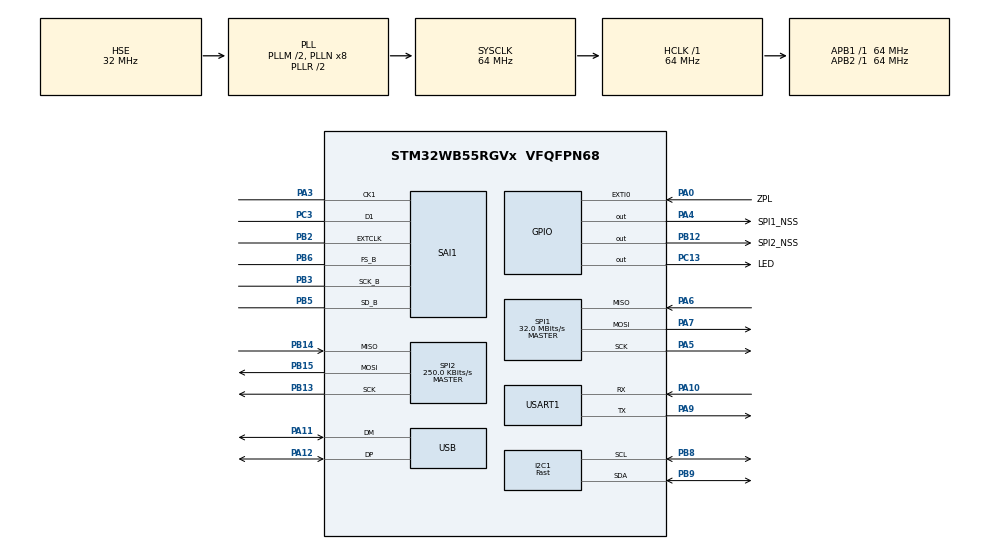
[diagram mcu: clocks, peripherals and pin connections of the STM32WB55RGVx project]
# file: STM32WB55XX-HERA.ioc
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Dma.Request0=SAI1_A
Dma.Request1=SPI2_RX
Dma.Request2=SPI2_TX
Dma.Request3=SAI1_B
Dma.SAI1_A.0.Direction=DMA_PERIPH_TO_MEMORY
Dma.SAI1_A.0.EventEnable=DISABLE
Dma.SAI1_A.0.Instance=DMA1_Channel1
Dma.SAI1_A.0.MemDataAlignment=DMA_MDATAALIGN_BYTE
Dma.SAI1_A.0.MemInc=DMA_MINC_ENABLE
Dma.SAI1_A.0.Mode=DMA_CIRCULAR
Dma.SAI1_A.0.PeriphDataAlignment=DMA_PDATAALIGN_BYTE
Dma.SAI1_A.0.PeriphInc=DMA_PINC_DISABLE
Dma.SAI1_A.0.Polarity=HAL_DMAMUX_REQ_GEN_RISING
Dma.SAI1_A.0.Priority=DMA_PRIORITY_LOW
Dma.SAI1_A.0.RequestNumber=1
Dma.SAI1_A.0.SignalID=NONE
Dma.SAI1_A.0.SyncEnable=DISABLE
Dma.SAI1_A.0.SyncPolarity=HAL_DMAMUX_SYNC_NO_EVENT
Dma.SAI1_A.0.SyncRequestNumber=1
Dma.SAI1_A.0.SyncSignalID=NONE
Dma.SAI1_B.3.Direction=DMA_MEMORY_TO_PERIPH
Dma.SAI1_B.3.EventEnable=DISABLE
Dma.SAI1_B.3.Instance=DMA1_Channel4
Dma.SAI1_B.3.MemDataAlignment=DMA_MDATAALIGN_HALFWORD
Dma.SAI1_B.3.MemInc=DMA_MINC_ENABLE
Dma.SAI1_B.3.Mode=DMA_NORMAL
Dma.SAI1_B.3.PeriphDataAlignment=DMA_PDATAALIGN_HALFWORD
Dma.SAI1_B.3.PeriphInc=DMA_PINC_DISABLE
Dma.SAI1_B.3.Polarity=HAL_DMAMUX_REQ_GEN_RISING
Dma.SAI1_B.3.Priority=DMA_PRIORITY_LOW
Dma.SAI1_B.3.RequestNumber=1
Dma.SAI1_B.3.SignalID=NONE
Dma.SAI1_B.3.SyncEnable=DISABLE
Dma.SAI1_B.3.SyncPolarity=HAL_DMAMUX_SYNC_NO_EVENT
Dma.SAI1_B.3.SyncRequestNumber=1
Dma.SAI1_B.3.SyncSignalID=NONE
Dma.SPI2_RX.1.Direction=DMA_PERIPH_TO_MEMORY
Dma.SPI2_RX.1.EventEnable=DISABLE
Dma.SPI2_RX.1.Instance=DMA1_Channel2
Dma.SPI2_RX.1.MemDataAlignment=DMA_MDATAALIGN_BYTE
Dma.SPI2_RX.1.MemInc=DMA_MINC_ENABLE
Dma.SPI2_RX.1.Mode=DMA_NORMAL
Dma.SPI2_RX.1.PeriphDataAlignment=DMA_PDATAALIGN_BYTE
Dma.SPI2_RX.1.PeriphInc=DMA_PINC_DISABLE
Dma.SPI2_RX.1.Polarity=HAL_DMAMUX_REQ_GEN_RISING
Dma.SPI2_RX.1.Priority=DMA_PRIORITY_LOW
Dma.SPI2_RX.1.RequestNumber=1
Dma.SPI2_RX.1.SignalID=NONE
Dma.SPI2_RX.1.SyncEnable=DISABLE
Dma.SPI2_RX.1.SyncPolarity=HAL_DMAMUX_SYNC_NO_EVENT
Dma.SPI2_RX.1.SyncRequestNumber=1
Dma.SPI2_RX.1.SyncSignalID=NONE
Dma.SPI2_TX.2.Direction=DMA_MEMORY_TO_PERIPH
Dma.SPI2_TX.2.EventEnable=DISABLE
Dma.SPI2_TX.2.Instance=DMA1_Channel3
Dma.SPI2_TX.2.MemDataAlignment=DMA_MDATAALIGN_BYTE
Dma.SPI2_TX.2.MemInc=DMA_MINC_ENABLE
Dma.SPI2_TX.2.Mode=DMA_NORMAL
Dma.SPI2_TX.2.PeriphDataAlignment=DMA_PDATAALIGN_BYTE
Dma.SPI2_TX.2.PeriphInc=DMA_PINC_DISABLE
Dma.SPI2_TX.2.Polarity=HAL_DMAMUX_REQ_GEN_RISING
Dma.SPI2_TX.2.Priority=DMA_PRIORITY_LOW
Dma.SPI2_TX.2.RequestNumber=1
Dma.SPI2_TX.2.SignalID=NONE
Dma.SPI2_TX.2.SyncEnable=DISABLE
Dma.SPI2_TX.2.SyncPolarity=HAL_DMAMUX_SYNC_NO_EVENT
Dma.SPI2_TX.2.SyncRequestNumber=1
Dma.SPI2_TX.2.SyncSignalID=NONE
I2C1.I2C_Speed_Mode=I2C_Fast
I2C1.Timing=0x00C12166
Mcu.Family=STM32WB
Mcu.Name=STM32WB55RGVx
Mcu.Package=VFQFPN68
NVIC.DMA1_Channel1_IRQn=true\:0\:0\:false\:false\:true\:false\:true\:true
NVIC.DMA1_Channel2_IRQn=true\:0\:0\:false\:false\:true\:false\:true\:true
NVIC.DMA1_Channel3_IRQn=true\:0\:0\:false\:false\:true\:false\:true\:true
NVIC.DMA1_Channel4_IRQn=true\:0\:0\:false\:false\:true\:false\:true\:true
NVIC.EXTI0_IRQn=true\:0\:0\:false\:false\:true\:true\:true\:true
NVIC.HSEM_IRQn=true\:0\:0\:false\:false\:true\:false\:true\:true
NVIC.IPCC_C1_RX_IRQn=true\:0\:0\:false\:false\:true\:true\:true\:true
NVIC.IPCC_C1_TX_IRQn=true\:0\:0\:false\:false\:true\:true\:true\:true
NVIC.PriorityGroup=NVIC_PRIORITYGROUP_4
NVIC.SAI1_IRQn=true\:0\:0\:false\:false\:true\:true\:true\:true
NVIC.USB_LP_IRQn=true\:0\:0\:false\:false\:true\:false\:true\:true
OSC_IN.Mode=HSE-External-Oscillator
OSC_IN.Signal=RCC_OSC_IN
OSC_OUT.Mode=HSE-External-Oscillator
OSC_OUT.Signal=RCC_OSC_OUT
PA0.GPIO_Label=ZPL
PA0.GPIO_PuPd=GPIO_PULLDOWN
PA0.Signal=GPXTI0
PA10.Mode=Asynchronous
PA10.Signal=USART1_RX
PA11.GPIO_Speed=GPIO_SPEED_FREQ_HIGH
PA11.Mode=Device
PA11.Signal=USB_DM
PA12.GPIO_Speed=GPIO_SPEED_FREQ_HIGH
PA12.Mode=Device
PA12.Signal=USB_DP
PA13.Mode=Serial_Wire
PA13.Signal=SYS_JTMS-SWDIO
PA14.Mode=Serial_Wire
PA14.Signal=SYS_JTCK-SWCLK
PA3.GPIO_Speed=GPIO_SPEED_FREQ_MEDIUM
PA3.Mode=PDM_Master_Mode_CK1
PA3.Signal=SAI1_CK1
PA4.GPIO_Label=SPI1_NSS
PA4.GPIO_ModeDefaultOutputPP=GPIO_MODE_OUTPUT_OD
PA4.GPIO_PuPd=GPIO_NOPULL
PA4.PinState=GPIO_PIN_SET
PA4.Signal=GPIO_Output
PA5.GPIO_Speed=GPIO_SPEED_FREQ_VERY_HIGH
PA5.Mode=Full_Duplex_Master
PA5.Signal=SPI1_SCK
PA6.GPIO_Speed=GPIO_SPEED_FREQ_HIGH
PA6.Mode=Full_Duplex_Master
PA6.Signal=SPI1_MISO
PA7.GPIO_Speed=GPIO_SPEED_FREQ_VERY_HIGH
PA7.Mode=Full_Duplex_Master
PA7.Signal=SPI1_MOSI
PA9.Mode=Asynchronous
PA9.Signal=USART1_TX
PB12.GPIO_Label=SPI2_NSS
PB12.PinState=GPIO_PIN_SET
PB12.Signal=GPIO_Output
PB13.GPIO_Speed=GPIO_SPEED_FREQ_VERY_HIGH
PB13.Mode=Full_Duplex_Master
PB13.Signal=SPI2_SCK
PB14.GPIO_Speed=GPIO_SPEED_FREQ_HIGH
PB14.Mode=Full_Duplex_Master
PB14.Signal=SPI2_MISO
PB15.GPIO_Speed=GPIO_SPEED_FREQ_VERY_HIGH
PB15.Mode=Full_Duplex_Master
PB15.Signal=SPI2_MOSI
PB2.Mode=Audio_ClockInSAI1
PB2.Signal=SAI1_EXTCLK
PB3.GPIO_Speed=GPIO_SPEED_FREQ_MEDIUM
PB3.Mode=SAI_B_Master
PB3.Signal=SAI1_SCK_B
PB5.GPIO_Speed=GPIO_SPEED_FREQ_MEDIUM
PB5.Mode=SAI_B_Master
PB5.Signal=SAI1_SD_B
PB6.Mode=SAI_B_Master
PB6.Signal=SAI1_FS_B
PB8.Mode=I2C
PB8.Signal=I2C1_SCL
PB9.Mode=I2C
PB9.Signal=I2C1_SDA
PC13.GPIO_Label=LED
PC13.PinState=GPIO_PIN_SET
PC13.Signal=GPIO_Output
PC14-OSC32_IN.Mode=LSE-External-Oscillator
PC14-OSC32_IN.Signal=RCC_OSC32_IN
PC15-OSC32_OUT.Mode=LSE-External-Oscillator
PC15-OSC32_OUT.Signal=RCC_OSC32_OUT
PC3.Mode=PDM_Master_Mode_CK1
PC3.Signal=SAI1_D1
ProjectManager.HeapSize=0x800
ProjectManager.StackSize=0x1000
ProjectManager.TargetToolchain=CMake
RCC.ADCFreq_Value=64000000
RCC.AHB2CLKDivider=RCC_SYSCLK_DIV2
RCC.AHBFreq_Value=64000000
RCC.APB1Freq_Value=64000000
RCC.APB1TimFreq_Value=64000000
RCC.APB2Freq_Value=64000000
RCC.APB2TimFreq_Value=64000000
RCC.APB3Freq_Value=16000000
RCC.CK48CLockSelection=RCC_USBCLKSOURCE_MSI
RCC.CortexFreq_Value=64000000
RCC.EXTERNALSAI1_CLOCK_VALUE=24576000
RCC.HCLKFreq_Value=64000000
RCC.HSE_VALUE=32000000
RCC.HSI48_VALUE=48000000
RCC.HSI_VALUE=16000000
RCC.MSIClockRange=RCC_MSIRANGE_11
RCC.PLLM=RCC_PLLM_DIV2
RCC.PLLP=RCC_PLLP_DIV8
RCC.PLLQ=RCC_PLLQ_DIV3
RCC.PLLSourceVirtual=RCC_PLLSOURCE_HSE
RCC.RTCClockSelection=RCC_RTCCLKSOURCE_LSE
RCC.SAI1CLockSelection=RCC_SAI1CLKSOURCE_PIN
RCC.SMPSCLockSelection=RCC_SMPSCLKSOURCE_HSE
RCC.SMPSDivider=4
RCC.SYSCLKFreq_VALUE=64000000
RCC.SYSCLKSource=RCC_SYSCLKSOURCE_PLLCLK
RCC.USBFreq_Value=48000000
RCC.VCOOutputFreq_Value=128000000
RF1.Mode=RF1_Activate
RF1.Signal=RF_RF1
SAI1.Activation=ENABLE
SAI1.AudioFrequency-PDM_Master_Mode_CK1=SAI_AUDIO_FREQUENCY_MCKDIV
SAI1.AudioFrequency-SAI_B_Master=SAI_AUDIO_FREQUENCY_48K
SAI1.ClockSource-SAI_B_Master=SAI_CLKSOURCE_EXT
SAI1.ErrorAudioFreq-PDM_Master_Mode_CK1=30.2 %
SAI1.ErrorAudioFreq-SAI_B_Master=0.0 %
SAI1.FIFOThreshold-PDM_Master_Mode_CK1=SAI_FIFOTHRESHOLD_1QF
SAI1.FSPolarity-PDM_Master_Mode_CK1=SAI_FS_ACTIVE_HIGH
SAI1.FirstBit-PDM_Master_Mode_CK1=SAI_FIRSTBIT_LSB
SAI1.FrameLength-PDM_Master_Mode_CK1=16
SAI1.InitProtocol-SAI_B_Master=Enable
SAI1.Instance-PDM_Master_Mode_CK1=SAI$Index_Block_A
SAI1.Instance-SAI_B_Master=SAI$Index_Block_B
SAI1.MClockEnable-PDM_Master_Mode_CK1=SAI_MASTERCLOCK_DISABLE
SAI1.MClockEnable-SAI_B_Master=SAI_MASTERCLOCK_DISABLE
SAI1.Mckdiv-PDM_Master_Mode_CK1=16
SAI1.OutputDrive-PDM_Master_Mode_CK1=SAI_OUTPUTDRIVE_DISABLE
SAI1.RealAudioFreq-PDM_Master_Mode_CK1=3.0 KHz
SAI1.RealAudioFreq-SAI_B_Master=48.0 KHz
SAI1.SlotActive-PDM_Master_Mode_CK1=0x0000FFFF
SAI1.SlotNumber-PDM_Master_Mode_CK1=2
SAI1.VirtualMode-PDM_Master_Mode_CK1=VM_MASTER
SAI1.VirtualMode-SAI_B_Master=VM_MASTER
SAI1.VirtualProtocol-PDM_Master_Mode_CK1=VM_PDM_PROTOCOL
SAI1.VirtualProtocol-SAI_B_BASIC=VM_BASIC_PROTOCOL
SAI1.VirtualSlotActive-PDM_Master_Mode_CK1=SAI_SLOTACTIVE_ALL
SPI1.CalculateBaudRate=32.0 MBits/s
SPI1.DataSize=SPI_DATASIZE_8BIT
SPI1.Direction=SPI_DIRECTION_2LINES
SPI1.Mode=SPI_MODE_MASTER
SPI1.VirtualType=VM_MASTER
SPI2.BaudRatePrescaler=SPI_BAUDRATEPRESCALER_256
SPI2.CalculateBaudRate=250.0 KBits/s
SPI2.DataSize=SPI_DATASIZE_8BIT
SPI2.Direction=SPI_DIRECTION_2LINES
SPI2.Mode=SPI_MODE_MASTER
SPI2.VirtualType=VM_MASTER
STM32_WPAN.AD_TYPE_COMPLETE_LOCAL_NAME=STM32WB55XX-HERA
STM32_WPAN.AD_TYPE_COMPLETE_LOCAL_NAME_LENGTH=17
STM32_WPAN.CFG_GAP_DEVICE_NAME=STM32WB55XX-HERA
STM32_WPAN.CFG_GAP_DEVICE_NAME_LENGTH=16
STM32_WPAN.CFG_LSCLK_LSE=0
STM32_WPAN.CFG_USE_SMPS=1
STM32_WPAN.CUSTOM_P2P_SERVER=Disabled
STM32_WPAN.CUSTOM_TEMPLATE=Enabled
STM32_WPAN.INCLUDE_AD_TYPE_COMPLETE_LOCAL_NAME=1
STM32_WPAN.NUMBER_OF_SERVICES=1
STM32_WPAN.SERVICE1_CHAR1_LONG_NAME=myCharWrite
STM32_WPAN.SERVICE1_CHAR1_SHORT_NAME=myCharWrite
STM32_WPAN.SERVICE1_LONG_NAME=mySVC
STM32_WPAN.SERVICE1_SHORT_NAME=mySVC
STMicroelectronics.X-CUBE-AI.10.2.1.ActivationBufferSizeList=52736
STMicroelectronics.X-CUBE-AI.10.2.1.ActivationBuffers=pool0
STMicroelectronics.X-CUBE-AI.10.2.1.ActivationNames=pool0
STMicroelectronics.X-CUBE-AI.10.2.1.ActivationSizes=AI_ECHODSCNN_DATA_ACTIVATION_1_SIZE
STMicroelectronics.X-CUBE-AI.10.2.1.HeapSize=0x800
STMicroelectronics.X-CUBE-AI.10.2.1.InternalRamActivationBufferMaxSize=AI_ECHODSCNN_DATA_ACTIVATIONS_SIZE
STMicroelectronics.X-CUBE-AI.10.2.1.LatestDirectoryUsed-0095a26695cd6a6f03bf6867bdaabdeb970d62a2d36d90248dc6531c786912c8=D\:\\edgedownload\\STM32WB55XX-HERA\\quant_tau025
STMicroelectronics.X-CUBE-AI.10.2.1.MaximumNumberOfInputLayer=1
STMicroelectronics.X-CUBE-AI.10.2.1.MaximumNumberOfOutputLayer=1
STMicroelectronics.X-CUBE-AI.10.2.1.ModelActualCompression-0095a26695cd6a6f03bf6867bdaabdeb970d62a2d36d90248dc6531c786912c8=0.0
STMicroelectronics.X-CUBE-AI.10.2.1.ModelCompression-0095a26695cd6a6f03bf6867bdaabdeb970d62a2d36d90248dc6531c786912c8=None
STMicroelectronics.X-CUBE-AI.10.2.1.ModelFlashOccupation-0095a26695cd6a6f03bf6867bdaabdeb970d62a2d36d90248dc6531c786912c8=62792
STMicroelectronics.X-CUBE-AI.10.2.1.ModelHashList=0095a26695cd6a6f03bf6867bdaabdeb970d62a2d36d90248dc6531c786912c8
STMicroelectronics.X-CUBE-AI.10.2.1.ModelKind-0095a26695cd6a6f03bf6867bdaabdeb970d62a2d36d90248dc6531c786912c8=TFLITE
STMicroelectronics.X-CUBE-AI.10.2.1.ModelMacc-0095a26695cd6a6f03bf6867bdaabdeb970d62a2d36d90248dc6531c786912c8=0
STMicroelectronics.X-CUBE-AI.10.2.1.ModelName-0095a26695cd6a6f03bf6867bdaabdeb970d62a2d36d90248dc6531c786912c8=echodscnn
STMicroelectronics.X-CUBE-AI.10.2.1.ModelNameList=echodscnn
STMicroelectronics.X-CUBE-AI.10.2.1.ModelRamOccupation-0095a26695cd6a6f03bf6867bdaabdeb970d62a2d36d90248dc6531c786912c8=52736
STMicroelectronics.X-CUBE-AI.10.2.1.ModelStructureFile-0095a26695cd6a6f03bf6867bdaabdeb970d62a2d36d90248dc6531c786912c8=D\:\\edgedownload\\STM32WB55XX-HERA\\quant_tau025\\model_int8.tflite
STMicroelectronics.X-CUBE-AI.10.2.1.ModelType-0095a26695cd6a6f03bf6867bdaabdeb970d62a2d36d90248dc6531c786912c8=TFLite Micro runtime
STMicroelectronics.X-CUBE-AI.10.2.1.ReadyForCodeGeneration=true
STMicroelectronics.X-CUBE-AI.10.2.1.StackSize=0x1000
STMicroelectronics.X-CUBE-AI.10.2.1.WorkingBufferStartAddrList=0xFFFFFFFF
STMicroelectronics.X-CUBE-AI.10.2.1.XAaCUBEAaAICcArtificialOoIntelligenceJjCore=true
STMicroelectronics.X-CUBE-AI.10.2.1.copyWeightToRam=false
STMicroelectronics.X-CUBE-AI.10.2.1.copyWeightToRam-0095a26695cd6a6f03bf6867bdaabdeb970d62a2d36d90248dc6531c786912c8=false
STMicroelectronics.X-CUBE-AI.10.2.1.customLayerConfigEnabled=false
STMicroelectronics.X-CUBE-AI.10.2.1.customLayerConfigEnabled-0095a26695cd6a6f03bf6867bdaabdeb970d62a2d36d90248dc6531c786912c8=false
STMicroelectronics.X-CUBE-AI.10.2.1.noOnnxIoTranspose=false
STMicroelectronics.X-CUBE-AI.10.2.1.noOnnxIoTranspose-0095a26695cd6a6f03bf6867bdaabdeb970d62a2d36d90248dc6531c786912c8=false
STMicroelectronics.X-CUBE-AI.10.2.1.tfliteruntime=true
STMicroelectronics.X-CUBE-AI.10.2.1.useInputAllocation=true
STMicroelectronics.X-CUBE-AI.10.2.1.useInputAllocation-0095a26695cd6a6f03bf6867bdaabdeb970d62a2d36d90248dc6531c786912c8=true
STMicroelectronics.X-CUBE-AI.10.2.1.useOutputAllocation=true
STMicroelectronics.X-CUBE-AI.10.2.1.useOutputAllocation-0095a26695cd6a6f03bf6867bdaabdeb970d62a2d36d90248dc6531c786912c8=true
USART1.VirtualMode-Asynchronous=VM_ASYNC
USB_DEVICE.CLASS_NAME_FS=MSC
USB_DEVICE.MSC_MEDIA_PACKET=4096
USB_DEVICE.PRODUCT_STRING_MSC_FS=HERA Dual Storage
USB_DEVICE.VirtualMode=Msc
USB_DEVICE.VirtualModeFS=Msc_FS
VP_HSEM_VS_HSEM.Mode=HSEM_Activate
VP_IPCC_VS_IPCC.Mode=IPCC_Activate
VP_MEMORYMAP_VS_MEMORYMAP.Mode=CurAppReg
VP_RTC_VS_RTC_Activate.Mode=RTC_Enabled
VP_RTC_VS_RTC_WakeUp_intern.Mode=WakeUp
VP_SAI1_VP_$IpInstance_SAIB_SAI_BASIC.Mode=SAI_B_BASIC
VP_SEQUENCER_VS_SEQUENCER.Mode=SEQUENCER_Enabled
VP_STM32_WPAN_VS_BLE_HOST.Mode=STM32_WPAN_Enabled
VP_STMicroelectronics.X-CUBE-AI_VS_ArtificialOoIntelligenceJjXAaCUBEAaAI_10.2.1.Mode=ArtificialOoIntelligenceJjXAaCUBEAaAI
VP_TINY_LPM_VS_TINY_LPM.Mode=TINY_LPM_Enabled
VP_USB_DEVICE_VS_USB_DEVICE_MSC_FS.Mode=MSC_FS
board=custom

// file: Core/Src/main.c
/* USER CODE BEGIN Header */
/**
 ******************************************************************************
 * @file           : main.c
 * @brief          : Main program body
 ******************************************************************************
 * @attention
 *
 * Copyright (c) 2026 STMicroelectronics.
 * All rights reserved.
 *
 * This software is licensed under terms that can be found in the LICENSE file
 * in the root directory of this software component.
 * If no LICENSE file comes with this software, it is provided AS-IS.
 *
 ******************************************************************************
 */
/* USER CODE END Header */
#include "main.h"
#include "dma.h"
#include "i2c.h"
#include "ipcc.h"
#include "rf.h"
#include "rtc.h"
#include "sai.h"
#include "spi.h"
#include "usart.h"
#include "usb_device.h"
#include "gpio.h"

/* USER CODE BEGIN Includes */
#include <stdio.h>
#include <string.h>
#include "audio_app.h"
#include "vm3011.h"
#include "platform_w25q80_stm32_impl.h"
#include "w25_disk.h"
#include "usb_msc.h"
#include "shell_cli.h"
#include "wav_recorder.h"
#include "sd_stm32_hal.h"
#include "sd_diskio.h"
/* USER CODE END Includes */

/* USER CODE BEGIN PV */
static VM3011_Dev_t s_vm;
static volatile uint8_t s_zpl_evt; /* 1 = ZPL (PA0) edge pending; also the STOP2 wake flag */
static volatile uint8_t s_key_evt; /* 1 = KEY (PC12) falling edge pending */
static uint8_t s_sd_attached;      /* 1 = SD IO 绑定成功（SPI2 可用） */
uint8_t g_sd_mounted;              /* 1 = SD 卷已挂载可用（录音优先目标） */
/* USER CODE END PV */

void SystemClock_Config(void);
void PeriphCommonClock_Config(void);

/* USER CODE BEGIN 0 */
/* ---- MicroSD (SPI2) 测试：初始化 + 裸块自检 + FatFs 文件写读 ----
 * 上电跑一次；主循环里插拔卡后重测（见 while(1)）。 */

/* 线路诊断：裸发 CMD0 打印原始应答字节 + 静态电平采样。
 * 判读：
 *  - resp 全 FF        -> 卡沉默：查接线（CS=D3!、CMD=MOSI!）、供电、共地、卡座接触
 *  - resp 含 01        -> 卡在应答：通信链路通，重跑即可
 *  - MISO(PB14) 静态恒 LOW -> D0 对地短路或被别的器件拉死
 *  - MISO(PB14) 静态浮空(读数不稳) 且 resp 全 FF -> D0 断线（最常见） */
#if SD_TEST_ENABLE
static void SD_Debug_Cmd0(void)
{
  uint8_t frame[6] = {0x40U, 0x00U, 0x00U, 0x00U, 0x00U, 0x95U};
  uint8_t rx[12] = {0};
  int i;

  printf("[SD] diag: MISO(PB14) idle=%d (1=HIGH), CS(PB12) idle=%d\r\n",
         (GPIOB->IDR & GPIO_PIN_14) ? 1 : 0,
         (GPIOB->IDR & SPI2_NSS_Pin) ? 1 : 0);

  g_sd_card.io.cs_low(g_sd_card.io.context);
  (void)g_sd_card.io.send(g_sd_card.io.context, frame, 6U);
  for (i = 0; i < 12; i++)
  {
    rx[i] = g_sd_card.io.spi_byte(g_sd_card.io.context, 0xFFU);
  }
  g_sd_card.io.cs_high(g_sd_card.io.context);

  printf("[SD] diag: CMD0 raw resp:");
  for (i = 0; i < 12; i++)
  {
    printf(" %02X", rx[i]);
  }
  printf("\r\n");
  if (rx[0] == 0xFFU && rx[11] == 0xFFU)
  {
    printf("[SD] diag: card SILENT (no R1) - wiring/power/seat issue, not a fw bug\r\n");
  }
  else if (rx[0] == 0x01U)
  {
    printf("[SD] diag: R1=0x01 received - card is alive!\r\n");
  }
}
#endif /* SD_TEST_ENABLE */

/* 打印 SD 卡目录树（递归，ASCII tree 风格）。
 * depth 限嵌套层数、count 限总条目数防串口刷屏。 */
#define SD_TREE_MAX_DEPTH    5U
#define SD_TREE_MAX_ENTRIES  500U

/* ---- SD 卡测试开关：0 = 关闭（上电/插卡不再跑读写测试、不挂载 SD 卷），
 * SPI2 与 SD IO attach 仍保留；1 = 恢复测试 ---- */
#define SD_TEST_ENABLE 0

#if SD_TEST_ENABLE
static void SD_Tree_Print(const char *path, const char *prefix,
                          uint32_t depth, uint32_t *count)
{
  DIR d;
  FILINFO cur;
  char sub[72];
  char child_prefix[40];
  FRESULT fr;
  uint32_t total, idx;
  size_t plen = strlen(path);

  if (depth >= SD_TREE_MAX_DEPTH)
  {
    printf("%s|-- (depth limit)\r\n", prefix);
    return;
  }

  fr = f_opendir(&d, path);
  if (fr != FR_OK)
  {
    printf("[SD] tree: opendir '%s' failed (%d)\r\n", path, (int)fr);
    return;
  }

  /* 第一遍：统计有效条目数（跳过卷标）。单 FILINFO 双遍遍历，
   * 避免 lookahead 双 FILINFO 的栈占用（LFN 模式 FILINFO ~88B）。 */
  total = 0U;
  for (fr = f_readdir(&d, &cur); fr == FR_OK && cur.fname[0] != 0U;
       fr = f_readdir(&d, &cur))
  {
    if ((cur.fattrib & 0x08U) == 0U) /* 0x08 = 卷标（R0.12c 无 AM_VOL 宏） */
    {
      total++;
    }
  }
  f_rewinddir(&d);

  /* 第二遍：打印 */
  idx = 0U;
  for (fr = f_readdir(&d, &cur); fr == FR_OK && cur.fname[0] != 0U;
       fr = f_readdir(&d, &cur))
  {
    int is_last;

    if ((cur.fattrib & 0x08U) != 0U)
    {
      continue; /* 跳过卷标 */
    }
    if (*count >= SD_TREE_MAX_ENTRIES)
    {
      printf("%s... (truncated at %u entries)\r\n", prefix, (unsigned)*count);
      break;
    }

    idx++;
    is_last = (idx == total);
    (*count)++;
    printf("%s%s-- %s", prefix, is_last ? "`" : "|", cur.fname);

    if ((cur.fattrib & AM_DIR) != 0U)
    {
      printf("/\r\n");
      (void)snprintf(sub, sizeof(sub), "%s%s%s",
                     path, (plen > 0U && path[plen - 1U] == '/') ? "" : "/",
                     cur.fname);
      {
        size_t n = strlen(prefix); /* memcpy 拼接避免 -Wformat-truncation */
        if (n + 5U <= sizeof(child_prefix))
        {
          (void)memcpy(child_prefix, prefix, n);
          (void)memcpy(child_prefix + n, is_last ? "    " : "|   ", 4U);
          child_prefix[n + 4U] = '\0';
        }
        else
        {
          child_prefix[0] = '\0';
        }
      }
      SD_Tree_Print(sub, child_prefix, depth + 1U, count);
    }
    else
    {
      printf("  (%lu B)\r\n", (unsigned long)cur.fsize);
    }
  }

  (void)f_closedir(&d);
}

static void SD_Test_Run(void)
{
  static const char msg[] = "STM32WB55 SPI2 SD card RW test\r\n";
  const SD_CardInfo *ci;
  char path[24];
  char rdbuf[64];
  UINT bw = 0U, br = 0U;
  FIL f;
  FRESULT fr;
  int r;

  r = SD_Init_Card(&g_sd_card);
  if (r <= 0)
  {
    printf("[SD] init FAILED ret=%d (-1 err/-2 timeout/-5 no card)\r\n", r);
    SD_Debug_Cmd0(); /* 线路诊断：区分接线断/卡沉默/卡应答 */
    return;
  }
  ci = SD_Get_Info_Card(&g_sd_card);
  printf("[SD] init OK: %s, %lu MB, %lu blocks x 512 B, SCK=%lu Hz\r\n",
         (r == SD_TYPE_V2HC) ? "SDHC/SDXC" : ((r == SD_TYPE_V2) ? "SDSC v2" : "SDSC v1"),
         (unsigned long)ci->capacity_mb, (unsigned long)ci->block_count,
         (unsigned long)g_sd_card.io.get_sck_hz(g_sd_card.io.context));

  /* 裸块读写自检（block 8192：保存->写图案->读回比对->还原，数据无损） */
  r = SD_Self_Test_Card(&g_sd_card, 8192U);
  printf("[SD] block selftest (blk 8192): %s (%d)\r\n",
         (r == SD_OK) ? "PASS" : "FAIL", r);

  /* FatFs 挂载（卷路径由 FATFS_LinkDriver 分配，如 "1:"） */
  fr = f_mount(&SDFatFs, SDPath, 1U);
  if (fr == FR_NO_FILESYSTEM)
  {
    printf("[SD] no FAT filesystem - f_mkfs skipped (format on PC to keep data)\r\n");
    s_sd_mounted = 1U; /* 卡本身读写正常，仅无文件系统 */
    return;
  }
  if (fr != FR_OK)
  {
    printf("[SD] f_mount FAILED (%d)\r\n", (int)fr);
    return;
  }
  s_sd_mounted = 1U;

  /* 文件写入 -> 读回比对 */
  (void)snprintf(path, sizeof(path), "%sSD_TEST.TXT", SDPath);
  fr = f_open(&f, path, FA_CREATE_ALWAYS | FA_WRITE);
  if (fr != FR_OK)
  {
    printf("[SD] f_open(create) FAILED (%d)\r\n", (int)fr);
    return;
  }
  fr = f_write(&f, msg, sizeof(msg) - 1U, &bw);
  (void)f_close(&f);
  if (fr != FR_OK || bw != sizeof(msg) - 1U)
  {
    printf("[SD] f_write FAILED (%d, wrote %u)\r\n", (int)fr, (unsigned)bw);
    return;
  }

  fr = f_open(&f, path, FA_READ);
  if (fr != FR_OK)
  {
    printf("[SD] f_open(read) FAILED (%d)\r\n", (int)fr);
    return;
  }
  fr = f_read(&f, rdbuf, sizeof(msg) - 1U, &br);
  (void)f_close(&f);
  if (fr == FR_OK && br == sizeof(msg) - 1U && memcmp(rdbuf, msg, br) == 0)
  {
    printf("[SD] file RW test '%s': PASS (%u bytes roundtrip)\r\n", path, (unsigned)br);
  }
  else
  {
    printf("[SD] file RW test FAILED (fr=%d, read %u)\r\n", (int)fr, (unsigned)br);
  }

  {
    DWORD free_clst = 0U;
    FATFS *fs = &SDFatFs;
    if (f_getfree(SDPath, &free_clst, &fs) == FR_OK)
    {
      printf("[SD] free: %lu KB of %lu KB\r\n",
             (unsigned long)(free_clst * fs->csize / 2U),
             (unsigned long)((fs->n_fatent - 2U) * fs->csize / 2U));
    }
  }

  /* 打印 SD 卡目录树 */
  {
    uint32_t count = 0U;
    printf("[SD] tree '%s':\r\n", SDPath);
    SD_Tree_Print(SDPath, "", 0U, &count);
    printf("[SD] tree end (%u entries)\r\n", (unsigned)count);
  }
}
#endif /* SD_TEST_ENABLE */

/* SD 卷挂载（生产路径，非读写测试）：初始化卡 + f_mount，成功置 g_sd_mounted。
 * 注意不能用 IsPresent 做前置检测：它依赖 info.initialized，上电首次握手
 * 前恒为 0，会误报无卡。无卡/无文件系统返回 0；不自动格式化（PC 格式化
 * 保数据）。quiet=1 时不打印失败信息（周期重试场景防刷屏）。 */
static uint8_t SD_AutoMount(uint8_t quiet)
{
  int r;
  FRESULT fr;

  r = SD_Init_Card(&g_sd_card);
  if (r <= 0)
  {
    if (quiet == 0U)
    {
      printf("[SD] init FAILED ret=%d (-1 err/-2 timeout/-5 no card)\r\n", r);
    }
    return 0U;
  }
  fr = f_mount(&SDFatFs, SDPath, 1U);
  if (fr == FR_NO_FILESYSTEM)
  {
    if (quiet == 0U)
    {
      printf("[SD] no FAT filesystem - format it on PC first\r\n");
    }
    return 0U;
  }
  if (fr != FR_OK)
  {
    if (quiet == 0U)
    {
      printf("[SD] f_mount FAILED (%d)\r\n", (int)fr);
    }
    return 0U;
  }
  g_sd_mounted = 1U;
  printf("[SD] volume '%s' mounted (record target)\r\n", SDPath);
  {
    char lb[16];
    /* SDPath 形如 "1:/"（带斜杠），卷标串只取盘符 "1:"，否则 '/' 会被
     * 写进卷标，Explorer 显示成 "/HERA_SD" */
    (void)snprintf(lb, sizeof(lb), "%c:HERA_SD", SDPath[0]);
    if (UsbMsc_Mounted() == 0U) /* U 盘挂载期禁写（PC 裸块访问中） */
    {
      (void)f_setlabel(lb); /* 盘符卷标；已一致时无写入 */
    }
  }
  return 1U;
}

/* 卸载并重挂双卷（flash "0:" + SD）：PC 经 U 盘写过盘后，MCU 侧 FatFs 的
 * FAT/目录缓存已过期，直接写会分配到错误簇。UsbMsc_Disconnect 后调用。
 * 录音进行中不得调用（会拆掉活动 FIL 的卷）。 */
void FS_RefreshMounts(void)
{
  if (g_sd_mounted != 0U)
  {
    (void)f_mount(NULL, SDPath, 0U);
    if (f_mount(&SDFatFs, SDPath, 1U) != FR_OK)
    {
      printf("[SD] remount failed after usb session\r\n");
      g_sd_mounted = 0U;
    }
  }
  (void)f_mount(NULL, USERPath, 0U);
  if (f_mount(&USERFatFs, USERPath, 1U) != FR_OK)
  {
    printf("[FAT] remount failed after usb session\r\n");
  }
}
/* USER CODE END 0 */

int main(void)
{

  /* MCU Configuration--------------------------------------------------------*/

  /* Reset of all peripherals, Initializes the Flash interface and the Systick. */
  HAL_Init();
  /* Config code for STM32_WPAN (HSE Tuning must be done before system clock configuration) */
  MX_APPE_Config();

  /* Configure the system clock */
  SystemClock_Config();

  /* Configure the peripherals common clocks */
  PeriphCommonClock_Config();

  /* IPCC initialisation */
  MX_IPCC_Init();

  /* USER CODE BEGIN SysInit */
  /* W25Q80 块设备绑定（只记录参数，不碰硬件）：USB MSC 枚举可能早于
   * main 的自检块，W25Disk 内部 lazy init 保证任意顺序都安全。 */
  W25Disk_Bind(&hspi1, GPIOA, GPIO_PIN_4);
  /* USER CODE END SysInit */

  /* Initialize all configured peripherals */
  MX_GPIO_Init();
  MX_DMA_Init();
  MX_RTC_Init();
  MX_SAI1_Init();
  MX_USART1_UART_Init();
  MX_I2C1_Init();
  MX_SPI1_Init();
  MX_USB_Device_Init();
  MX_SPI2_Init();
  MX_RF_Init();
  /* USER CODE BEGIN 2 */
  /* W25Q80 SPI Flash 自检 + FAT 挂载（USB U 盘与 CLI/录音共用同一卷） */
  {
    FRESULT fr;

    printf("[W25Q80] selftest start (CS=PA4, SPI1)\r\n");

    /* CS=PA4 已由 MX_GPIO_Init() 配好：开漏输出、初始高，板载上拉拉高。
     * W25Disk lazy init（SPI_FLASH_INIT），USB MSC 枚举早于此也已安全。 */
    if (W25Disk_Ready() == 0U)
    {
      printf("[W25Q80] init failed - fs/usb unavailable\r\n");
    }
    else
    {
      w25q80_stm32_t *fl = W25Disk_Flash();
      uint8_t jid[3] = {0};

      printf("[W25Q80] id(0x90)=0x%04X\r\n", SPI_FLASH_READ_ID(&fl->base));
      if (platform_w25q80_stm32_read_jedec_id(fl, jid) == SPI_FLASH_STATUS_OK)
      {
        printf("[W25Q80] jedec(0x9F)=0x%02X 0x%02X 0x%02X (expect EF 40 14)\r\n",
               jid[0], jid[1], jid[2]);
      }
      printf("[W25Q80] total=%lu B, sector=%lu B, block=%lu B, page=%u B\r\n",
             (unsigned long)SPI_FLASH_GET_TOTAL_SIZE(&fl->base),
             (unsigned long)SPI_FLASH_GET_SECTOR_SIZE(&fl->base),
             (unsigned long)SPI_FLASH_GET_BLOCK_SIZE(&fl->base),
             SPI_FLASH_GET_PAGE_SIZE(&fl->base));

      /* ---- FAT 挂载：W25Q80 注册为逻辑卷 "0:"（stm32-mw-fatfs R0.15） ---- */
      if (FATFS_LinkDriver(&USER_Driver, USERPath) != 0U)
      {
        printf("[FAT] FATFS_LinkDriver FAILED\r\n");
      }
      else
      {
      fr = f_mount(&USERFatFs, "0:", 1U);
      if (fr == FR_NO_FILESYSTEM)
      {
        static uint8_t mkfs_work[512];
        MKFS_PARM mkfs_parm; /* R0.15：格式参数改走结构体 */

        printf("[FAT] no filesystem -> formatting FAT12 (wipes flash)...\r\n");
        memset(&mkfs_parm, 0, sizeof(mkfs_parm));
        mkfs_parm.fmt = FM_FAT | FM_SFD;
        fr = f_mkfs("0:", &mkfs_parm, mkfs_work, sizeof(mkfs_work));
        if (fr == FR_OK)
        {
          /* U 盘默认枚举（录音调试模式），首次 UsbMsc_Poll 时 PC 挂载
           * 读到全新 FAT，无需重新枚举。 */
          fr = f_mount(&USERFatFs, "0:", 1U);
        }
      }
      if (fr == FR_OK)
      {
        printf("[FAT] mounted - usb U-disk + cli share this volume\r\n");
        /* 盘符卷标（Explorer 里区分两块 U 盘）；已一致时 FatFs 内部无写入 */
        (void)f_setlabel("0:HERA_FLASH");
      }
      else
      {
        printf("[FAT] mount/mkfs failed (%d) - flash fs unavailable\r\n", (int)fr);
      }
      }
    }
    Shell_CLI_Init();
  }

  /* VM3011 bring-up via driver (Zephyr port): waits 1 s for ZPL settle,
   * verifies I2C_CNTRL==0x00 (device detect) and applies the config.
   * Runs BEFORE AudioApp_Init: the audio app stores the handle and clears
   * DOUT itself when a listen session closes. */
  {
    VM3011_Config_t cfg;
    VM3011_ConfigDefault(&cfg);
    cfg.wos_dout_thresh = 3U; /* 4x margin (12.0 dB SPL over ambient).
                               * 1 (6 dB, most sensitive) false-woke constantly
                               * in a noisy room (VAD floor ~430): after every
                               * ClearDout the ambient swell re-asserted DOUT
                               * instantly -> wake/sleep loop. 4x requires the
                               * event to be >= 12 dB over ambient, which an
                               * ordinary noise swell does not reach while
                               * speech does. Reg05 table: 1..7 = 6.0/9.5/
                               * 12.0/14.0/15.5/16.9/18.0 dB - tune per room. */
    cfg.wos_rms = 1U;         /* 2 Hz WoS comparator: DOUT asserts ~2x
                              * faster than the 1 Hz default - observed:
                              * with 1 Hz the wake arrived so late that the
                              * keyword head was already gone. */
    int ret = VM3011_Init(&s_vm, &hi2c1, VM3011_I2C_ADDR_L, &cfg);
    printf("[VM3011] init ret=%d (0=OK, -1=I2C, -3=NODEV)\r\n", ret);
    if (ret == VM3011_OK)
    {
      uint8_t v[6];
      uint8_t reg_ok = 1U;
      uint8_t i;
      for (i = 0U; i <= 5U; i++)
      {
        if (VM3011_ReadReg(&s_vm, i, &v[i]) != VM3011_OK)
        {
          reg_ok = 0U;
        }
      }
      if (reg_ok != 0U)
      {
        static const char *lpf_tab[4] = {"2k", "4k", "6k", "8k"};
        static const char *hpf_tab[4] = {"200", "300", "400", "800"};
        static const uint16_t margin_db10[8] = {0U, 60U, 95U, 120U, 140U, 155U, 169U, 180U};
        uint8_t pga = v[1] & 0x1FU;
        int amb_x10 = 915 - (int)pga * 15;
        uint8_t t = v[5] & 0x07U;

        printf("[VM3011] raw: 00=%02X 01=%02X 02=%02X 03=%02X 04=%02X 05=%02X\r\n",
               v[0], v[1], v[2], v[3], v[4], v[5]);
        printf("[VM3011] wdt: %s, delay=%u ms\r\n",
               ((v[0] & 1U) != 0U) ? "ON" : "OFF",
               (unsigned)(8U << ((v[0] >> 1) & 3U)));
        printf("[VM3011] bpf: LPF=%s Hz, HPF=%s Hz\r\n",
               lpf_tab[v[2] & 3U], hpf_tab[(v[2] >> 2) & 3U]);
        printf("[VM3011] pga: gain=%u (ambient ~%d.%d dB SPL)\r\n",
               pga, amb_x10 / 10, amb_x10 % 10);
        printf("[VM3011] track: fast_mode=%u, min_thr=code%u(~%d dB), max_thr=code%u(~%d dB), rms=%s Hz\r\n",
               (v[3] >> 5) & 3U, v[3] & 0x1FU,
               (915 - (int)(v[3] & 0x1FU) * 15) / 10,
               v[4] & 0x1FU,
               (915 - (int)(v[4] & 0x1FU) * 15) / 10,
               (((v[4] >> 5) & 1U) != 0U) ? "2" : "1");
        printf("[VM3011] dout: margin=%ux (+%u.%u dB SPL over ambient)\r\n",
               t + 1U, margin_db10[t] / 10U, margin_db10[t] % 10U);

        /* Drop any power-up DOUT indication so the wake line starts LOW. */
        (void)VM3011_ClearDout(&s_vm);
      }
    }
  }

  /* ZPL-gated KWS: AudioApp_Init does NOT start the audio stream - the
   * first DOUT wake (see while(1)) opens the first listening session. */
  AudioApp_Init(&s_vm);

  /* VM3011 DOUT (PA0) ZPL wake line, two independent paths:
   *  - EXTI0 rising edge -> HAL_GPIO_EXTI_Callback sets s_zpl_evt;
   *  - PWR WKUP1 (PA0 is WKUP1, level HIGH) -> STOP2 wake even if the
   *    edge slips by; the main loop polls WUF1 and treats it as a ZPL. */
  LL_PWR_SetWakeUpPinPolarityHigh(LL_PWR_WAKEUP_PIN1);
  LL_PWR_EnableWakeUpPin(LL_PWR_WAKEUP_PIN1);
  LL_PWR_ClearFlag_WU1();
  HAL_NVIC_SetPriority(EXTI0_IRQn, 3, 0);
  HAL_NVIC_EnableIRQ(EXTI0_IRQn);

  /* KEY (PC12): 按键翻转录音，低电平按下 -> 下降沿触发，可从 STOP2 唤醒 */
  __HAL_RCC_GPIOC_CLK_ENABLE();
  {
    GPIO_InitTypeDef key_io = {0};
    key_io.Pin = GPIO_PIN_12;
    key_io.Mode = GPIO_MODE_IT_FALLING;
    key_io.Pull = GPIO_PULLUP;
    HAL_GPIO_Init(GPIOC, &key_io);
  }
  HAL_NVIC_SetPriority(EXTI15_10_IRQn, 3, 0);
  HAL_NVIC_EnableIRQ(EXTI15_10_IRQn);
  printf("[VM3011] DOUT(PA0) init %s, STOP2 wake armed\r\n",
         (HAL_GPIO_ReadPin(GPIOA, GPIO_PIN_0) != GPIO_PIN_RESET) ? "HIGH" : "LOW");

  /* ---- MicroSD (SPI2: PB13-SCK / PB14-MISO / PB15-MOSI / PB12-CS) ---- */
  {
    static SD_STM32_HAL s_sd_hal;
    int r;

    s_sd_hal.spi = &hspi2;
    s_sd_hal.cs_port = SPI2_NSS_GPIO_Port;
    s_sd_hal.cs_pin = SPI2_NSS_Pin;
    s_sd_hal.low_prescaler = SPI_BAUDRATEPRESCALER_256; /* 64M/256=250 kHz <400 kHz */
    s_sd_hal.high_prescaler = SPI_BAUDRATEPRESCALER_4;  /* 64M/4=16 MHz（SD SPI 模式上限 25MHz；
                                                           CRC 错误自动降速重试兜底） */

    r = SD_STM32_HAL_Attach(&g_sd_card, &s_sd_hal);
    printf("[SD] SPI2 attach ret=%d (0=OK)\r\n", r);
    if (r == SD_OK)
    {
      s_sd_attached = 1U;
      if (FATFS_LinkDriver(&SD_Driver, SDPath) != 0U)
      {
        printf("[SD] FATFS_LinkDriver FAILED\r\n");
      }
      else
      {
        printf("[SD] FatFs volume '%s' linked (W25Q80 stays '0:')\r\n", SDPath);
        (void)SD_AutoMount(0U);
      }
    }
    else
    {
      printf("[SD] attach FAILED - check SPI2 config (soft NSS, no CRC, mode0)\r\n");
    }
  }

  /* 录音卷：SD 已挂载则优先 SD，否则回退 W25Q80 "0:" */
  WavRecorder_Init((g_sd_mounted != 0U) ? SDPath : "0:");
  /* USER CODE END 2 */

  while(LL_HSEM_1StepLock(HSEM, CFG_HW_CLK48_CONFIG_SEMID));

  /* Init code for STM32_WPAN */
  MX_APPE_Init();

  /* Infinite loop */
  while (1)
  {
    MX_APPE_Process();

    /* USER CODE BEGIN 3 */
#if 1 /* ---- MicroSD (SPI2) 测试结束：恢复原有业务逻辑 ---- */
    /* ZPL event detection: EXTI edge flag and/or the STOP2 wake flag
     * (WUF1). Either way, open/extend an audio listening session. */
    if (LL_PWR_IsActiveFlag_WU1() != 0U)
    {
      LL_PWR_ClearFlag_WU1();
      s_zpl_evt = 1U;
    }
    if (s_zpl_evt != 0U)
    {
      s_zpl_evt = 0U;
      if (AudioApp_GetKwsEnabled() != 0U)
      {
        AudioApp_ZplNotify(); /* KWS 关闭时忽略 ZPL；录音会话由 KEY/命令开启 */
      }
    }
    if (s_key_evt != 0U)
    {
      s_key_evt = 0U;
      if (WavRecorder_active() != 0U)
      {
        printf("[KEY] stop\r\n");
        (void)WavRecorder_stop();
      }
      else
      {
        printf("[KEY] rec start\r\n");
        if (WavRecorder_start() == 0)
        {
          AudioApp_ZplNotify(); /* 打开音频会话，启动采集流 */
        }
      }
    }

    Shell_CLI_Process();
    UsbMsc_Poll();      /* STOP2 唤醒后重启 USB 枚举；挂载沿停录音 */
    AudioApp_Process();
#endif /* ---- 原业务屏蔽结束 ---- */

    /* SD 卡插拔监测（500 ms 轮询）：插卡自动挂载并切换为录音目标卷；
     * 拔卡先停录音再卸载卷，录音卷回退 W25Q80。
     * IsPresent 依赖 info.initialized：上电无卡时从未握手成功，只能
     * 静默周期重试；初始化过才用 IsPresent 沿检测插拔。
     * U 盘挂载期间（PC 对 LUN1 裸块访问）暂停 IsPresent 探测：它与
     * USB ISR 的读写撞锁会让 PC 收到 SCSI 错误，盘符延迟数十秒出现。
     * 拔卡/格式化等变化在会话结束（断开/拔线）后由恢复的首轮轮询补账。 */
    if (s_sd_attached != 0U)
    {
      static uint32_t s_last_poll;
      static uint8_t s_present_prev;
      static uint8_t s_usb_paused_prev;
      uint32_t now = HAL_GetTick();
      if ((uint32_t)(now - s_last_poll) >= 500U)
      {
        s_last_poll = now;
        if (g_sd_mounted != 0U)
        {
          if (UsbMsc_Mounted() == 0U &&
              SD_Card_IsPresent_Card(&g_sd_card) == 0)
          {
            printf("[SD] card removed\r\n");
            if (!WavRecorder_OnFlash())
            {
              if (WavRecorder_active() != 0U)
              {
                printf("[REC] sd removed -> stop\r\n");
                (void)WavRecorder_stop();
              }
              (void)WavRecorder_SetVolume("0:");
            }
            (void)f_mount(NULL, SDPath, 0U);
            g_sd_mounted = 0U;
            s_present_prev = 0U;
            /* 不做 SD_DeInit_Card：保持 SPI2 就绪，插卡后 SD_Init_Card
             * 内部 set_speed(LOW) 会按需重初始化外设。 */
          }
        }
        else if (g_sd_card.info.initialized != 0U)
        {
          uint8_t usb_busy = (uint8_t)(UsbMsc_Mounted() != 0U);

          if (usb_busy == 0U)
          {
            if (s_usb_paused_prev != 0U)
            {
              /* 会话刚结束：强制一次挂载尝试（PC 可能已在会话中格式化） */
              s_present_prev = 0U;
            }
            {
              uint8_t present = (uint8_t)SD_Card_IsPresent_Card(&g_sd_card);

              if (present != 0U && s_present_prev == 0U)
              {
                printf("[SD] card inserted\r\n");
                if (SD_AutoMount(0U) != 0U && WavRecorder_active() == 0U)
                {
                  (void)WavRecorder_SetVolume(SDPath);
                }
              }
              s_present_prev = present;
            }
          }
          s_usb_paused_prev = usb_busy;
        }
        else
        {
          /* 上电起就无卡（从未握手成功）：静默重试握手，成功即挂载并
           * 切换录音卷。U 盘会话期间也照常重试：此时 LUN1 的 IsReady
           * 因 initialized=0 直接失败，PC 不会对它发读写，无竞争。 */
          if (SD_AutoMount(1U) != 0U && WavRecorder_active() == 0U)
          {
            (void)WavRecorder_SetVolume(SDPath);
          }
        }
      }
    }
  }
  /* USER CODE END 3 */
}

void SystemClock_Config(void)
{
  RCC_OscInitTypeDef RCC_OscInitStruct = {0};
  RCC_ClkInitTypeDef RCC_ClkInitStruct = {0};

  /** Configure LSE Drive Capability
  */
  HAL_PWR_EnableBkUpAccess();
  __HAL_RCC_LSEDRIVE_CONFIG(RCC_LSEDRIVE_MEDIUMHIGH);

  /** Configure the main internal regulator output voltage
  */
  __HAL_PWR_VOLTAGESCALING_CONFIG(PWR_REGULATOR_VOLTAGE_SCALE1);

  /** Initializes the RCC Oscillators according to the specified parameters
  * in the RCC_OscInitTypeDef structure.
  */
  RCC_OscInitStruct.OscillatorType = RCC_OSCILLATORTYPE_HSI|RCC_OSCILLATORTYPE_HSE
                              |RCC_OSCILLATORTYPE_LSE|RCC_OSCILLATORTYPE_MSI;
  RCC_OscInitStruct.HSEState = RCC_HSE_ON;
  RCC_OscInitStruct.LSEState = RCC_LSE_ON;
  RCC_OscInitStruct.HSIState = RCC_HSI_ON;
  RCC_OscInitStruct.MSIState = RCC_MSI_ON;
  RCC_OscInitStruct.HSICalibrationValue = RCC_HSICALIBRATION_DEFAULT;
  RCC_OscInitStruct.MSICalibrationValue = RCC_MSICALIBRATION_DEFAULT;
  RCC_OscInitStruct.MSIClockRange = RCC_MSIRANGE_11;
  RCC_OscInitStruct.PLL.PLLState = RCC_PLL_ON;
  RCC_OscInitStruct.PLL.PLLSource = RCC_PLLSOURCE_HSE;
  RCC_OscInitStruct.PLL.PLLM = RCC_PLLM_DIV2;
  RCC_OscInitStruct.PLL.PLLN = 8;
  RCC_OscInitStruct.PLL.PLLP = RCC_PLLP_DIV8;
  RCC_OscInitStruct.PLL.PLLR = RCC_PLLR_DIV2;
  RCC_OscInitStruct.PLL.PLLQ = RCC_PLLQ_DIV3;
  if (HAL_RCC_OscConfig(&RCC_OscInitStruct) != HAL_OK)
  {
    Error_Handler();
  }

  /** Configure the SYSCLKSource, HCLK, PCLK1 and PCLK2 clocks dividers
  */
  RCC_ClkInitStruct.ClockType = RCC_CLOCKTYPE_HCLK4|RCC_CLOCKTYPE_HCLK2
                              |RCC_CLOCKTYPE_HCLK|RCC_CLOCKTYPE_SYSCLK
                              |RCC_CLOCKTYPE_PCLK1|RCC_CLOCKTYPE_PCLK2;
  RCC_ClkInitStruct.SYSCLKSource = RCC_SYSCLKSOURCE_PLLCLK;
  RCC_ClkInitStruct.AHBCLKDivider = RCC_SYSCLK_DIV1;
  RCC_ClkInitStruct.APB1CLKDivider = RCC_HCLK_DIV1;
  RCC_ClkInitStruct.APB2CLKDivider = RCC_HCLK_DIV1;
  RCC_ClkInitStruct.AHBCLK2Divider = RCC_SYSCLK_DIV2;
  RCC_ClkInitStruct.AHBCLK4Divider = RCC_SYSCLK_DIV1;

  if (HAL_RCC_ClockConfig(&RCC_ClkInitStruct, FLASH_LATENCY_3) != HAL_OK)
  {
    Error_Handler();
  }

  /** Enable MSI Auto calibration
  */
  HAL_RCCEx_EnableMSIPLLMode();
}

void PeriphCommonClock_Config(void)
{
  RCC_PeriphCLKInitTypeDef PeriphClkInitStruct = {0};

  /** Initializes the peripherals clock
  */
  PeriphClkInitStruct.PeriphClockSelection = RCC_PERIPHCLK_SMPS|RCC_PERIPHCLK_RFWAKEUP;
  PeriphClkInitStruct.RFWakeUpClockSelection = RCC_RFWKPCLKSOURCE_HSE_DIV1024;
  PeriphClkInitStruct.SmpsClockSelection = RCC_SMPSCLKSOURCE_HSE;
  PeriphClkInitStruct.SmpsDivSelection = RCC_SMPSCLKDIV_RANGE1;

  if (HAL_RCCEx_PeriphCLKConfig(&PeriphClkInitStruct) != HAL_OK)
  {
    Error_Handler();
  }
}

/* USER CODE BEGIN 4 */
/* Note: EXTI0_IRQHandler is generated in stm32wbxx_it.c (ZPL_Pin). */

void EXTI15_10_IRQHandler(void)
{
  HAL_GPIO_EXTI_IRQHandler(GPIO_PIN_12);
}

void USART1_IRQHandler(void)
{
  HAL_UART_IRQHandler(&huart1);
}

void HAL_GPIO_EXTI_Callback(uint16_t GPIO_Pin)
{
  if (GPIO_Pin == ZPL_Pin)
  {
    /* Just flag it: also serves as the STOP2 wake flag. Printing is done
     * from the main loop (correct clock/baud there, even after STOP2 wake). */
    s_zpl_evt = 1U;
  }
  else if (GPIO_Pin == GPIO_PIN_12)
  {
    s_key_evt = 1U;
  }
}
/* USER CODE END 4 */

void Error_Handler(void)
{
  __disable_irq();
  while (1)
  {
  }
}
